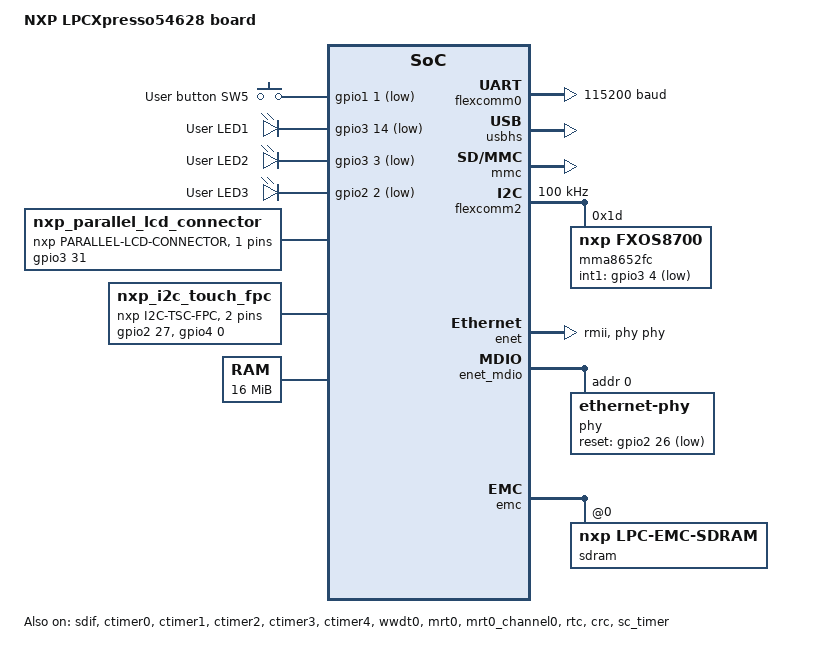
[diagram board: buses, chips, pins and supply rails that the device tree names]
/*
 * Copyright 2026 NXP
 *
 * SPDX-License-Identifier: Apache-2.0
 */

/dts-v1/;

#include <nxp/lpc/lpc54xxx/nxp_lpc546xx.dtsi>
#include <zephyr/dt-bindings/i2c/i2c.h>
#include <zephyr/dt-bindings/input/input-event-codes.h>
#include <zephyr/dt-bindings/pwm/pwm.h>
#include "lpcxpresso54628-pinctrl.dtsi"

/ {
	compatible = "nxp,lpc546xx", "nxp,lpc";
	model = "NXP LPCXpresso54628 board";

	chosen {
		zephyr,sram = &sram0;
		zephyr,flash = &flash0;
		zephyr,console = &flexcomm0;
		zephyr,shell-uart = &flexcomm0;
	};

	aliases {
		led0 = &led1;
		led1 = &led2;
		led2 = &led3;
		usart-0 = &flexcomm0;
		sw0 = &user_button;
		accel0 = &mma8652fc;
		watchdog0 = &wwdt0;
		rtc = &rtc;
	};

	/*
	 * SW5 is the only usable push button. The ISP buttons SW2/SW3/SW4 are
	 * wired to P0_6/P0_5/P0_4, which this board uses as EMC_D4/EMC_D3/EMC_D2
	 * for the SDRAM, so they cannot be read as GPIO while the EMC is active
	 * and are intentionally not exposed here.
	 */
	gpio_keys {
		compatible = "gpio-keys";

		user_button: button_0 {
			label = "User button SW5";
			gpios = <&gpio1 1 (GPIO_ACTIVE_LOW | GPIO_PULL_UP)>;
			zephyr,code = <INPUT_KEY_0>;
		};
	};

	leds {
		compatible = "gpio-leds";

		led1: led_1 {
			gpios = <&gpio3 14 GPIO_ACTIVE_LOW>;
			label = "User LED1";
		};

		led2: led_2 {
			gpios = <&gpio3 3 GPIO_ACTIVE_LOW>;
			label = "User LED2";
		};

		led3: led_3 {
			gpios = <&gpio2 2 GPIO_ACTIVE_LOW>;
			label = "User LED3";
		};
	};

	/*
	 * GPIO pins of the parallel-LCD FPC connector, shared across NXP EVKs
	 * and used by the parallel-display shields.
	 */
	nxp_parallel_lcd_connector: parallel-connector {
		compatible = "nxp,parallel-lcd-connector";
		#gpio-cells = <2>;
		gpio-map-mask = <0xffffffff 0xffffffc0>;
		gpio-map-pass-thru = <0 0x3f>;
		gpio-map = <0 0 &gpio3 31 0>;	/* Pin 1: LCD backlight enable */
	};

	/* GPIO pins of the I2C touch-controller FPC connector. */
	nxp_i2c_touch_fpc: i2c-touch-connector {
		compatible = "nxp,i2c-tsc-fpc";
		#gpio-cells = <2>;
		gpio-map-mask = <0xffffffff 0xffffffc0>;
		gpio-map-pass-thru = <0 0x3f>;
		gpio-map = <1 0 &gpio2 27 0>,	/* Pin 2: touch reset  */
			   <2 0 &gpio4 0 0>;	/* Pin 3: touch interrupt */
	};

	/*
	 * 16 MB external SDRAM (Micron MT48LC8M16A2) on the EMC dynamic
	 * chip-select 0, declared as a memory-region so large buffers that do
	 * not fit in internal SRAM can be linked here. It has no MPU attributes
	 * of its own, so the default memory map's execute-never device region
	 * applies: data only, privileged access (unaligned access verified on
	 * this board).
	 */
	sdram0: memory@a0000000 {
		compatible = "zephyr,memory-region", "mmio-sram";
		reg = <0xa0000000 DT_SIZE_M(16)>;
		zephyr,memory-region = "SDRAM";
	};
};

&cpu0 {
	clock-frequency = <DT_FREQ_M(220)>;
};

/*
 * Default for this board is to use the full 160 KB of contiguous main SRAM
 * (SRAM0-3) as a single region; an application can provide its own devicetree
 * to allocate the SRAM banks differently.
 */
&sram0 {
	reg = <0x20000000 DT_SIZE_K(160)>;
};

&flexcomm0 {
	compatible = "nxp,lpc-usart";
	current-speed = <115200>;
	pinctrl-0 = <&pinmux_flexcomm0_usart>;
	pinctrl-names = "default";
	status = "okay";
};

&usbfs {
	pinctrl-0 = <&pinmux_usbfs>;
	pinctrl-names = "default";
};

zephyr_udc0: &usbhs {
	status = "okay";
};

/* Full-size SD card slot (J7), 4-bit SDIO. */
&sdif {
	pinctrl-0 = <&pinmux_sdif>;
	pinctrl-names = "default";
	status = "okay";

	mmc {
		compatible = "zephyr,sdmmc-disk";
		disk-name = "SD";
		status = "okay";
	};
};

nxp_touch_i2c: &flexcomm2 {
	compatible = "nxp,lpc-i2c";
	clock-frequency = <I2C_BITRATE_STANDARD>;
	#address-cells = <1>;
	#size-cells = <0>;
	pinctrl-0 = <&pinmux_flexcomm2_i2c>;
	pinctrl-names = "default";
	status = "okay";

	/*
	 * NXP MMA8652FC 3-axis accelerometer. INT1 is wired to P3_4 and INT2 is
	 * unconnected. The pin interrupt engine can only select pins on ports 0
	 * and 1, so INT1 cannot raise a GPIO interrupt and the driver's trigger
	 * support is unavailable on this board.
	 */
	mma8652fc: mma8652fc@1d {
		compatible = "nxp,fxos8700", "nxp,mma8652fc";
		reg = <0x1d>;
		int1-gpios = <&gpio3 4 GPIO_ACTIVE_LOW>;
	};
};

&ctimer0 {
	status = "okay";
};

&ctimer1 {
	status = "okay";
};

&ctimer2 {
	status = "okay";
};

&ctimer3 {
	status = "okay";
};

&ctimer4 {
	status = "okay";
};

&wwdt0 {
	status = "okay";
};

&mrt0 {
	status = "okay";
};

&mrt0_channel0 {
	status = "okay";
};

&rtc {
	status = "okay";
};

&crc {
	status = "okay";
};

/* 10/100 RMII Ethernet to the on-board LAN8720A PHY and RJ45 jack (J4). */
&enet {
	pinctrl-0 = <&pinmux_enet>;
	pinctrl-names = "default";
	phy-connection-type = "rmii";
	phy-handle = <&phy>;
	status = "okay";
};

&enet_mdio {
	status = "okay";

	phy: ethernet-phy@0 {
		compatible = "ethernet-phy";
		reg = <0>;
		reset-gpios = <&gpio2 26 GPIO_ACTIVE_LOW>;
		reset-assert-us = <10000>;
		reset-deassert-us = <100000>;
	};
};

&enet_ptp_clock {
	status = "okay";
};

&emc {
	pinctrl-0 = <&pinmux_emc>;
	pinctrl-names = "default";
	/* 220 MHz / 3 = 73.3 MHz, below the 100 MHz EMC clock limit. */
	nxp,emc-clock-div = <2>;
	/*
	 * Read-capture delay. A 16 MB memory test passes with every value at
	 * 73.3 MHz and with 23-31 at 110 MHz; 26 is inside both windows.
	 */
	nxp,emc-feedback-clock-delay = <26>;
	status = "okay";

	sdram@0 {
		compatible = "nxp,lpc-emc-sdram";
		reg = <0>;			/* EMC dynamic chip-select 0 (DYCS0) */
		refresh-period-ns = <15625>;
		t-rp-ns = <18>;
		t-ras-ns = <42>;
		t-srex-ns = <67>;
		t-apr-ns = <18>;
		t-wr-ns = <6>;
		t-rc-ns = <60>;
		t-rfc-ns = <60>;
		t-xsr-ns = <67>;
		t-rrd-ns = <12>;
		nxp,address-mapping = <0x09>;	/* 16-bit, 4 banks, 12 rows, 9 cols */
		nxp,sdram-mode-register = <0x33>;
		nxp,ras-latency = <2>;
		nxp,mode-register-delay = <2>;
	};
};

/*
 * Expose the LCDC under the label the parallel-display shields expect. The
 * panel timings, resolution and pixel format come from the shield; the board
 * supplies the pin routing, the framebuffer memory and the backlight PWM.
 */
zephyr_lcdif: &lcdc {
	pinctrl-0 = <&pinmux_lcd>;
	pinctrl-names = "default";
	memory-region = <&sdram0>;
	/*
	 * Backlight brightness via SCTimer PWM on P3_31 (1 kHz). The LCDC driver
	 * uses this for display_set_brightness() and blanking; it takes
	 * precedence over the shield's GPIO backlight-enable on the same pin.
	 */
	pwms = <&sc_timer 5 PWM_HZ(1000) PWM_POLARITY_NORMAL>;
};

/* SCTimer0 output 5 drives the LCD backlight PWM (P3_31). */
&sc_timer {
	pinctrl-0 = <&pinmux_sctimer0_lcd>;
	pinctrl-names = "default";
	status = "okay";
};
